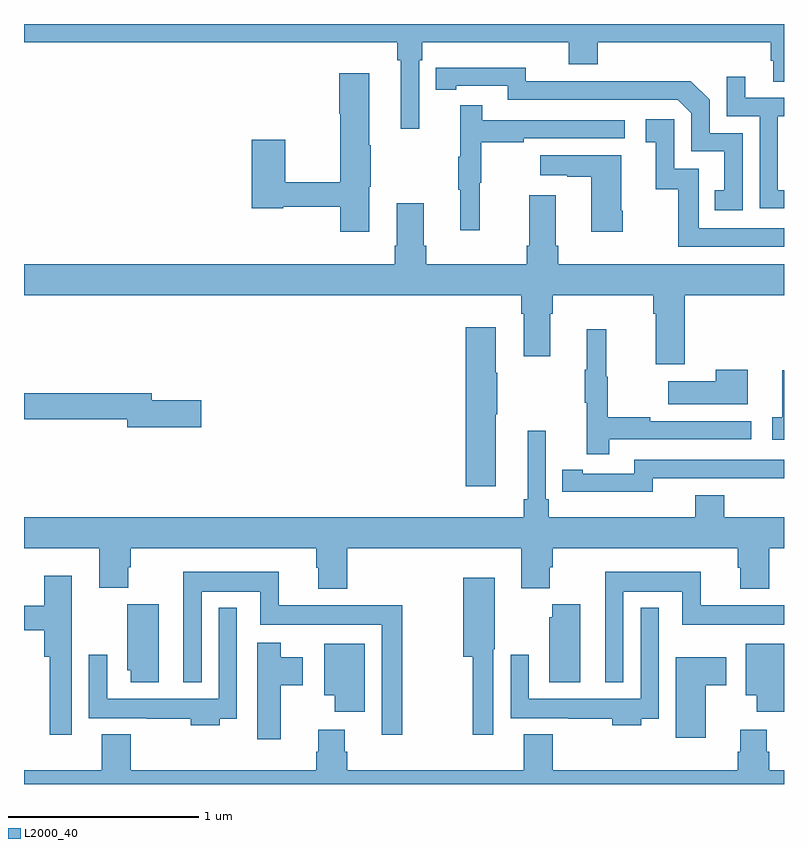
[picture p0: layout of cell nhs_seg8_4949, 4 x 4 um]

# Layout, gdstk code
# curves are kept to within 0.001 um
import gdstk
lib = gdstk.Library(unit=1e-6, precision=1e-09)
def P(c, l, *ps):  # polygons
    for p in ps: c.add(gdstk.Polygon(p, *l))
L2000_40 = (2000, 40)

nhs_seg8_4949 = lib.new_cell('nhs_seg8_4949')
P(nhs_seg8_4949, L2000_40, [(411.081,1145.708),(411.095,1145.708),(411.095,1145.804),(411.866,1145.804),(411.866,1145.687),(412.019,1145.687),(412.019,1145.804),(412.931,1145.804),(412.931,1145.706),(412.943,1145.706),(412.943,1145.596),(413,1145.596),(413,1145.9),(409,1145.9),(409,1145.804),(410.965,1145.804),(410.965,1145.708),(410.984,1145.708),(410.984,1145.349),(411.081,1145.349)],
  [(412.782,1145.325),(412.608,1145.325),(412.608,1145.502),(412.51,1145.6),(412.102,1145.6),(412.102,1145.598),(411.642,1145.598),(411.642,1145.671),(411.166,1145.67),(411.166,1145.554),(411.274,1145.554),(411.274,1145.574),(411.546,1145.574),(411.546,1145.502),(412.44,1145.502),(412.512,1145.43),(412.512,1145.229),(412.685,1145.229),(412.685,1145.025),(412.636,1145.025),(412.636,1144.92),(412.782,1144.92)],
  [(410.818,1145.043),(410.826,1145.043),(410.826,1145.261),(410.818,1145.261),(410.818,1145.641),(410.66,1145.641),(410.66,1145.428),(410.665,1145.428),(410.665,1145.066),(410.376,1145.066),(410.376,1145.29),(410.198,1145.29),(410.198,1144.93),(410.364,1144.93),(410.364,1144.938),(410.665,1144.938),(410.665,1144.806),(410.818,1144.806)],
  [(413,1145.026),(412.968,1145.026),(412.968,1145.415),(413,1145.415),(413,1145.511),(412.795,1145.511),(412.795,1145.623),(412.698,1145.623),(412.698,1145.415),(412.872,1145.415),(412.872,1144.929),(413,1144.929)],
  [(411.398,1145.064),(411.406,1145.064),(411.406,1145.278),(411.629,1145.278),(411.629,1145.298),(412.162,1145.298),(412.162,1145.394),(411.413,1145.394),(411.413,1145.473),(411.296,1145.473),(411.296,1145.201),(411.285,1145.201),(411.285,1145.027),(411.296,1145.027),(411.296,1144.815),(411.398,1144.815)],
  [(413,1144.824),(412.551,1144.824),(412.551,1145.139),(412.422,1145.139),(412.422,1145.398),(412.272,1145.398),(412.272,1145.277),(412.325,1145.277),(412.325,1145.031),(412.443,1145.031),(412.443,1144.728),(413,1144.728)],
  [(412.152,1144.918),(412.144,1144.918),(412.144,1145.209),(411.717,1145.209),(411.717,1145.105),(411.86,1145.105),(411.86,1145.095),(411.986,1145.095),(411.986,1144.806),(412.152,1144.806)],
  [(412.478,1144.472),(413,1144.472),(413,1144.636),(411.812,1144.636),(411.812,1144.732),(411.799,1144.732),(411.799,1144.999),(411.659,1144.999),(411.659,1144.732),(411.647,1144.732),(411.647,1144.636),(411.116,1144.636),(411.116,1144.732),(411.103,1144.732),(411.103,1144.957),(410.963,1144.957),(410.963,1144.732),(410.951,1144.732),(410.951,1144.636),(409,1144.636),(409,1144.472),(411.617,1144.472),(411.617,1144.376),(411.629,1144.376),(411.629,1144.152),(411.769,1144.152),(411.769,1144.376),(411.782,1144.376),(411.782,1144.472),(412.313,1144.472),(412.313,1144.376),(412.325,1144.376),(412.325,1144.11),(412.478,1144.11)],
  [(411.484,1143.847),(411.492,1143.847),(411.492,1144.064),(411.484,1144.064),(411.484,1144.303),(411.326,1144.303),(411.326,1143.468),(411.484,1143.468)],
  [(412.079,1143.714),(412.828,1143.714),(412.828,1143.81),(412.295,1143.81),(412.295,1143.83),(412.072,1143.83),(412.072,1144.044),(412.064,1144.044),(412.064,1144.294),(411.962,1144.294),(411.962,1144.081),(411.951,1144.081),(411.951,1143.907),(411.962,1143.907),(411.962,1143.636),(412.079,1143.636)],
  [(412.81,1144.081),(412.64,1144.081),(412.64,1144.021),(412.391,1144.021),(412.391,1143.899),(412.81,1143.899)],
  [(413,1144.078),(412.991,1144.078),(412.991,1143.831),(412.938,1143.831),(412.938,1143.711),(413,1143.711)],
  [(409.933,1143.92),(409.672,1143.92),(409.672,1143.956),(409,1143.956),(409,1143.82),(409.544,1143.82),(409.544,1143.778),(409.933,1143.778)],
  [(410.702,1143.14),(411.617,1143.14),(411.617,1142.931),(411.767,1142.931),(411.767,1143.041),(411.782,1143.041),(411.782,1143.14),(412.757,1143.14),(412.757,1143.039),(412.769,1143.039),(412.769,1142.927),(412.922,1142.927),(412.922,1143.14),(413,1143.14),(413,1143.304),(412.685,1143.304),(412.685,1143.421),(412.532,1143.421),(412.532,1143.304),(411.761,1143.304),(411.761,1143.4),(411.747,1143.4),(411.747,1143.76),(411.65,1143.76),(411.65,1143.4),(411.631,1143.4),(411.631,1143.304),(409,1143.304),(409,1143.14),(409.397,1143.14),(409.397,1142.932),(409.549,1142.932),(409.549,1143.041),(409.562,1143.041),(409.562,1143.14),(410.537,1143.14),(410.537,1143.039),(410.549,1143.039),(410.549,1142.927),(410.702,1142.927)],
  [(412.308,1143.51),(412.768,1143.51),(412.768,1143.509),(413,1143.509),(413,1143.606),(412.212,1143.606),(412.212,1143.534),(411.94,1143.534),(411.94,1143.554),(411.832,1143.554),(411.832,1143.438),(411.94,1143.438),(411.94,1143.437),(412.308,1143.437)],
  [(410.992,1142.842),(410.342,1142.842),(410.342,1143.016),(409.838,1143.016),(409.838,1142.435),(409.935,1142.435),(409.935,1142.912),(410.244,1142.912),(410.244,1142.738),(410.883,1142.738),(410.883,1142.16),(410.992,1142.16)],
  [(412.155,1142.912),(412.464,1142.912),(412.464,1142.738),(413,1142.738),(413,1142.842),(412.562,1142.842),(412.562,1143.016),(412.058,1143.016),(412.058,1142.435),(412.155,1142.435)],
  [(409.251,1142.733),(409.252,1142.733),(409.252,1142.995),(409.106,1142.995),(409.106,1142.839),(409,1142.839),(409,1142.71),(409.106,1142.71),(409.106,1142.57),(409.135,1142.57),(409.135,1142.16),(409.251,1142.16)],
  [(411.471,1142.61),(411.478,1142.61),(411.478,1142.986),(411.313,1142.986),(411.313,1142.57),(411.363,1142.57),(411.363,1142.16),(411.471,1142.16)],
  [(409.708,1142.847),(409.544,1142.847),(409.544,1142.499),(409.562,1142.499),(409.562,1142.436),(409.708,1142.436)],
  [(411.928,1142.847),(411.78,1142.847),(411.78,1142.778),(411.764,1142.778),(411.764,1142.435),(411.928,1142.435)],
  [(410.029,1142.244),(410.121,1142.244),(410.121,1142.827),(410.025,1142.827),(410.025,1142.35),(409.437,1142.35),(409.437,1142.581),(409.341,1142.581),(409.341,1142.246),(409.645,1142.246),(409.645,1142.244),(409.877,1142.244),(409.877,1142.21),(410.029,1142.21)],
  [(412.249,1142.244),(412.341,1142.244),(412.341,1142.827),(412.245,1142.827),(412.245,1142.35),(411.657,1142.35),(411.657,1142.581),(411.561,1142.581),(411.561,1142.246),(411.865,1142.246),(411.865,1142.244),(412.097,1142.244),(412.097,1142.21),(412.249,1142.21)],
  [(410.35,1142.419),(410.467,1142.419),(410.467,1142.566),(410.35,1142.566),(410.35,1142.644),(410.228,1142.644),(410.228,1142.136),(410.35,1142.136)],
  [(413,1142.638),(412.799,1142.638),(412.799,1142.366),(412.856,1142.366),(412.856,1142.28),(413,1142.28)],
  [(410.794,1142.638),(410.579,1142.638),(410.579,1142.366),(410.636,1142.366),(410.636,1142.28),(410.794,1142.28)],
  [(412.588,1142.419),(412.696,1142.419),(412.696,1142.566),(412.43,1142.566),(412.43,1142.144),(412.588,1142.144)],
  [(413,1141.972),(412.922,1141.972),(412.922,1142.07),(412.909,1142.07),(412.909,1142.185),(412.769,1142.185),(412.769,1142.07),(412.757,1142.07),(412.757,1141.972),(411.782,1141.972),(411.782,1142.161),(411.629,1142.161),(411.629,1141.972),(410.702,1141.972),(410.702,1142.07),(410.689,1142.07),(410.689,1142.185),(410.549,1142.185),(410.549,1142.07),(410.537,1142.07),(410.537,1141.972),(409.562,1141.972),(409.562,1142.161),(409.409,1142.161),(409.409,1141.972),(409,1141.972),(409,1141.9),(413,1141.9)])

lib.write_gds('nhs_seg8_4949.gds')
